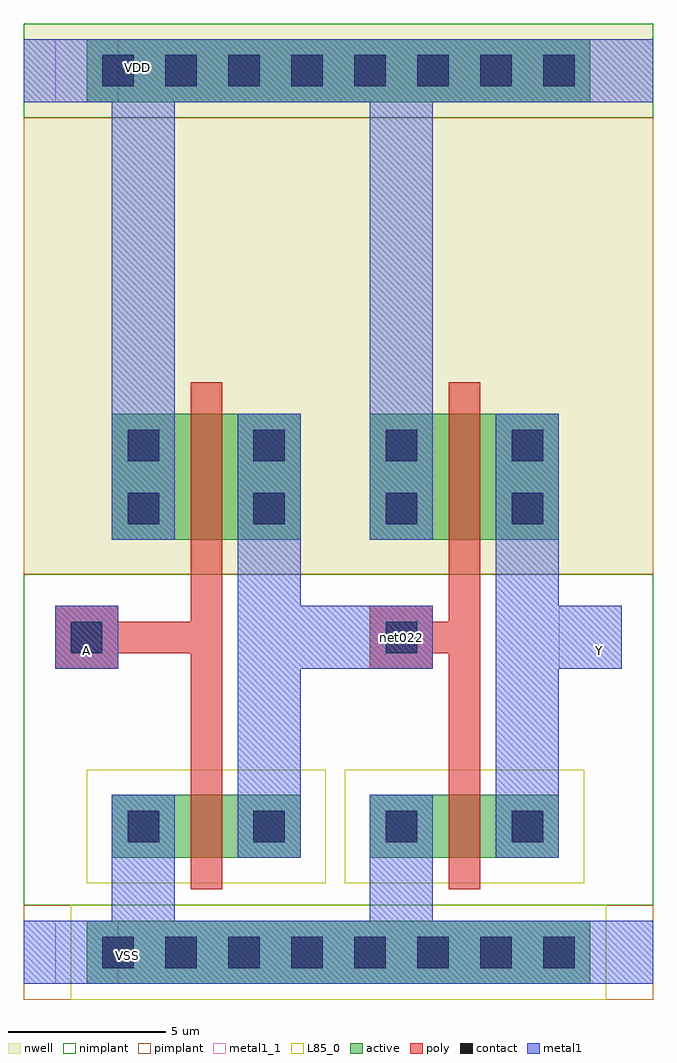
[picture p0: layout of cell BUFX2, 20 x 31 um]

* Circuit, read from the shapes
.subckt BUFX2 A VDD VSS Y net022
M1 net022 A VSS VSS nfet w=2u l=1u
M2 Y net022 VSS VSS nfet w=2u l=1u
M3 net022 A VDD VDD pfet w=4u l=1u
M4 Y net022 VDD VDD pfet w=4u l=1u
.ends

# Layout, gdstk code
import gdstk
lib = gdstk.Library(unit=1e-6, precision=5e-10)
def R(c, l, rs):  # rectangles x0, y0, x1, y1
    for r in rs: c.add(gdstk.rectangle(r[:2], r[2:], *l))
def A(c, l, x, y, w, h, nx, ny, dx, dy):  # array of equal rectangles
    R(c, l, [(x+i*dx, y+j*dy, x+i*dx+w, y+j*dy+h) for i in range(nx) for j in range(ny)])
active = (1, 0)
nwell = (2, 0)
poly = (3, 0)
nimplant = (4, 0)
pimplant = (5, 0)
contact = (6, 0)
metal1 = (7, 0)
metal1_1 = (7, 1)
L85_0 = (85, 0)

nmos4_cdns_4 = lib.new_cell('nmos4_CDNS_4')
R(nmos4_cdns_4, active, [(1,1,7,3)])
R(nmos4_cdns_4, poly, [(3.5,0,4.5,4), (3.6,3.4,4.4,3.9)])
R(nmos4_cdns_4, nimplant, [(0,0,8,4)])
R(nmos4_cdns_4, contact, [(1.5,1.5,2.5,2.5), (5.5,1.5,6.5,2.5)])
R(nmos4_cdns_4, metal1, [(1,1,3,3), (5,1,7,3), (1.3,1.3,2.7,2.7), (5.3,1.3,6.7,2.7)])
R(nmos4_cdns_4, L85_0, [(0.2,0.2,7.8,3.8)])

pmos4_cdns_5 = lib.new_cell('pmos4_CDNS_5')
R(pmos4_cdns_5, active, [(1,1,7,5)])
R(pmos4_cdns_5, nwell, [(0.2,0.2,7.8,5.8)])
R(pmos4_cdns_5, poly, [(3.5,0,4.5,6), (3.6,5.5,4.4,5.9)])
R(pmos4_cdns_5, pimplant, [(0,0,8,6)])
R(pmos4_cdns_5, contact, [(1.5,1.5,2.5,2.5), (5.5,1.5,6.5,2.5), (1.5,3.5,2.5,4.5), (5.5,3.5,6.5,4.5)])
R(pmos4_cdns_5, metal1, [(1,1,3,5), (5,1,7,5), (1.3,1.3,2.7,2.7), (5.3,1.3,6.7,2.7)])

m1_psub_cdns_1 = lib.new_cell('M1_PSUB_CDNS_1')
R(m1_psub_cdns_1, active, [(-8,-1,8,1)])
R(m1_psub_cdns_1, pimplant, [(-8.5,-1.5,8.5,1.5)])
A(m1_psub_cdns_1, contact, -7.5, -0.5, 1, 1, 8, 1, 2, 0)
R(m1_psub_cdns_1, metal1, [(-8,-1,8,1)])
R(m1_psub_cdns_1, L85_0, [(-8.5,-1.5,8.5,1.5)])

m1_nwell_cdns_2 = lib.new_cell('M1_NWELL_CDNS_2')
R(m1_nwell_cdns_2, active, [(-8,-1,8,1)])
R(m1_nwell_cdns_2, nwell, [(-8.5,-1.5,8.5,1.5)])
R(m1_nwell_cdns_2, nimplant, [(-8.5,-1.5,8.5,1.5)])
A(m1_nwell_cdns_2, contact, -7.5, -0.5, 1, 1, 8, 1, 2, 0)
R(m1_nwell_cdns_2, metal1, [(-8,-1,8,1)])

m1_po_cdns_3 = lib.new_cell('M1_PO_CDNS_3')
R(m1_po_cdns_3, poly, [(-1,-1,1,1)])
R(m1_po_cdns_3, contact, [(-0.5,-0.5,0.5,0.5)])
R(m1_po_cdns_3, metal1, [(-1,-1,1,1)])

bufx2 = lib.new_cell('BUFX2')
R(bufx2, nwell, [(0,12,20,29.5)])
R(bufx2, nimplant, [(0,1.5,20,12), (0,26.5,20,29.5)])
R(bufx2, pimplant, [(0,-1.5,20,1.5), (0,12,20,26.5)])
R(bufx2, metal1, [(0,-1,20,1), (2.8,-0.3,4.8,5), (11,0.6,13,5), (6.8,3,8.8,13.5), (15,4,17,13.6), (1,9,3,11), (8,9,13,11), (15.7,9,19,11), (11,13.1,13,28.7), (0,27,20,29)])
R(bufx2, metal1_1, [(1,-1,3,1), (1,9,3,11), (17,9,19,11), (1,27,3,29)])
bufx2.add(gdstk.FlexPath([(3.8,16.1),(3.8,28.8)], 2, ends="flush", simple_path=True, layer=7, datatype=0))  # metal1
bufx2.add(gdstk.FlexPath([(5.8,12.1),(5.8,10)], 1, ends=(0, 0.5), simple_path=True, layer=3, datatype=0))  # poly
bufx2.add(gdstk.FlexPath([(5.8,10),(2,10)], 1, ends=(0.5, 0), simple_path=True, layer=3, datatype=0))  # poly
bufx2.add(gdstk.FlexPath([(14,12.1),(14,10)], 1, ends=(0, 0.5), simple_path=True, layer=3, datatype=0))  # poly
bufx2.add(gdstk.FlexPath([(14,10),(12,10)], 1, ends=(0.5, 0), simple_path=True, layer=3, datatype=0))  # poly
bufx2.add(gdstk.FlexPath([(14,10),(14,5.9)], 1, ends=(0.5, 0), simple_path=True, layer=3, datatype=0))  # poly
bufx2.add(gdstk.FlexPath([(5.8,10),(5.8,5.9)], 1, ends=(0.5, 0), simple_path=True, layer=3, datatype=0))  # poly
bufx2.add(gdstk.Reference(nmos4_cdns_4, (10,2)))
bufx2.add(gdstk.Reference(nmos4_cdns_4, (1.8,2)))
bufx2.add(gdstk.Reference(pmos4_cdns_5, (10,12.1)))
bufx2.add(gdstk.Reference(pmos4_cdns_5, (1.8,12.1)))
bufx2.add(gdstk.Reference(m1_psub_cdns_1, (10,0)))
bufx2.add(gdstk.Reference(m1_nwell_cdns_2, (10,28)))
bufx2.add(gdstk.Reference(m1_po_cdns_3, (2,10)))
bufx2.add(gdstk.Reference(m1_po_cdns_3, (12,10)))
bufx2.add(gdstk.Label('net022', (12,10), layer=3, texttype=0))
bufx2.add(gdstk.Label('VSS', (3.3,-0.1), layer=7, texttype=3))
bufx2.add(gdstk.Label('Y', (18.3,9.6), layer=7, texttype=3))
bufx2.add(gdstk.Label('A', (2,9.6), layer=7, texttype=3))
bufx2.add(gdstk.Label('VDD', (3.6,28.1), layer=7, texttype=3))

lib.write_gds('BUFX2.gds')
